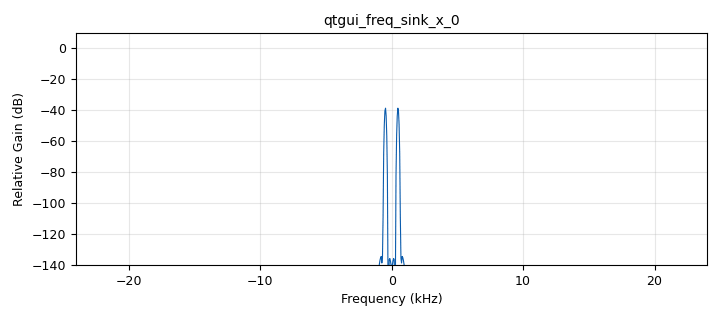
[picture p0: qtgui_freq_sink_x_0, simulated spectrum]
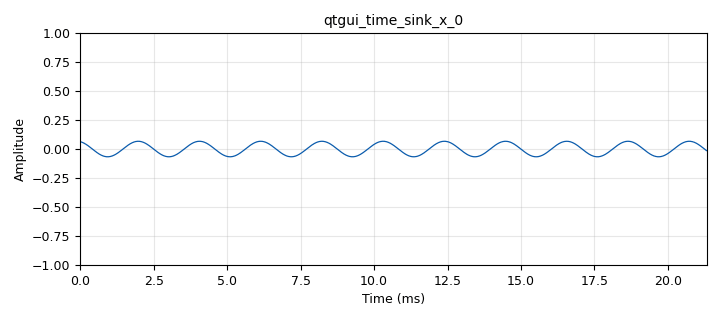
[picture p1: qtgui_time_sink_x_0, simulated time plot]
options:
  parameters:
    generate_options: qt_gui
    id: ex2_04
    output_language: python
    title: Figure 2.8 FM capture demonstration on synthetic signals
  states: {}

blocks:
- name: D
  id: variable
  parameters:
    value: '8'
  states: {}
- name: g1710
  id: variable_qtgui_range
  parameters:
    start: '0'
    step: '.01'
    stop: '.5'
    value: '0'
  states: {}
- name: g480
  id: variable_qtgui_range
  parameters:
    start: '0'
    step: '.01'
    stop: '.5'
    value: '.5'
  states: {}
- name: samp_rate
  id: variable
  parameters:
    value: '48000'
  states: {}
- name: analog_sig_source_x_0
  id: analog_sig_source_x
  parameters:
    amp: '1'
    freq: '1710'
    offset: '0'
    phase: '0'
    samp_rate: samp_rate
    type: float
    waveform: analog.GR_COS_WAVE
  states: {}
- name: analog_sig_source_x_0_0
  id: analog_sig_source_x
  parameters:
    amp: '1'
    freq: '480'
    offset: '0'
    phase: '0'
    samp_rate: samp_rate
    type: float
    waveform: analog.GR_COS_WAVE
  states: {}
- name: analog_wfm_rcv_0
  id: analog_wfm_rcv
  parameters:
    audio_decimation: D
    quad_rate: samp_rate*D
  states: {}
- name: analog_wfm_tx_0
  id: analog_wfm_tx
  parameters:
    audio_rate: samp_rate
    fh: '-1.0'
    max_dev: 5e3
    quad_rate: samp_rate*D
    tau: '75e-6'
  states: {}
- name: analog_wfm_tx_0_0
  id: analog_wfm_tx
  parameters:
    audio_rate: samp_rate
    comment: |-
      Max deviation must be much smaller
      than samp_rate
    fh: '-1.0'
    max_dev: 5e3
    quad_rate: samp_rate*D
    tau: '75e-6'
  states: {}
- name: audio_sink_0
  id: audio_sink
  parameters:
    samp_rate: samp_rate
  states: {}
- name: blocks_add_xx_0
  id: blocks_add_xx
  parameters:
    type: complex
  states: {}
- name: blocks_multiply_const_vxx_0
  id: blocks_multiply_const_vxx
  parameters:
    const: g1710
    type: complex
  states: {}
- name: blocks_multiply_const_vxx_0_0
  id: blocks_multiply_const_vxx
  parameters:
    const: g480
    type: complex
  states: {}
- name: blocks_throttle2_0
  id: blocks_throttle2
  parameters:
    samples_per_second: samp_rate*D
    type: complex
  states: {}
- name: channels_channel_model_0
  id: channels_channel_model
  parameters:
    epsilon: '1.0'
    freq_offset: '0.0'
    noise_voltage: '0.0'
    seed: '0'
    taps: '1.0'
  states: {}
- name: qtgui_freq_sink_x_0
  id: qtgui_freq_sink_x
  parameters:
    bw: samp_rate
    fc: '0'
    fftsize: '1024'
    type: float
  states: {}
- name: qtgui_time_sink_x_0
  id: qtgui_time_sink_x
  parameters:
    size: '1024'
    srate: samp_rate
    type: float
  states: {}

connections:
- [analog_sig_source_x_0, '0', analog_wfm_tx_0, '0']
- [analog_sig_source_x_0_0, '0', analog_wfm_tx_0_0, '0']
- [analog_wfm_rcv_0, '0', audio_sink_0, '0']
- [analog_wfm_rcv_0, '0', qtgui_freq_sink_x_0, '0']
- [analog_wfm_rcv_0, '0', qtgui_time_sink_x_0, '0']
- [analog_wfm_tx_0, '0', blocks_multiply_const_vxx_0, '0']
- [analog_wfm_tx_0_0, '0', blocks_multiply_const_vxx_0_0, '0']
- [blocks_add_xx_0, '0', blocks_throttle2_0, '0']
- [blocks_multiply_const_vxx_0, '0', blocks_add_xx_0, '0']
- [blocks_multiply_const_vxx_0_0, '0', blocks_add_xx_0, '1']
- [blocks_throttle2_0, '0', channels_channel_model_0, '0']
- [channels_channel_model_0, '0', analog_wfm_rcv_0, '0']

metadata:
  file_format: 1
  grc_version: 3.10.9.2
